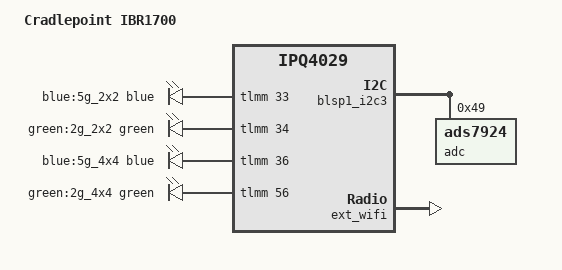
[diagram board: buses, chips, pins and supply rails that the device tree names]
// SPDX-License-Identifier: GPL-2.0-or-later
/* Copyright (c) 2025, Natalie Moore <natalie@natalielucy.dev> */

#include "qcom-ipq4029-brulk-common.dtsi"
#include <dt-bindings/gpio/gpio.h>
#include <dt-bindings/leds/common.h>

/ {
	/* Codename Hulk */
	model = "Cradlepoint IBR1700";
	compatible = "cradlepoint,ibr1700";

	gpio_export {
		2g_antenna_toggle {
			gpio-export,name = "2g_antenna_toggle";
			gpio-export,output = <0>;
			gpio-export,direction_may_change = <0>;
			gpios = <&tlmm 69 GPIO_ACTIVE_HIGH>;
		};

		conn_ign_sense {
			gpio-export,name = "conn_ign_sense";
			gpio-export,input = <0>;
			gpio-export,direction_may_change = <0>;
			gpios = <&tlmm 19 GPIO_ACTIVE_LOW>;
		};

		conn_output {
			gpio-export,name = "conn_output";
			gpio-export,output = <0>;
			gpio-export,direction_may_change = <0>;
			gpios = <&expander1 7 GPIO_ACTIVE_HIGH>;
		};

		sata_ign_sense {
			gpio-export,name = "sata_ign_sense";
			gpio-export,input = <0>;
			gpio-export,direction_may_change = <0>;
			gpios = <&tlmm 53 GPIO_ACTIVE_LOW>;
		};

		/* GPS + RS-232 + GPIO riser card */
		riser_mux {
			gpio-export,name = "riser_mux";
			gpio-export,output = <0>;	/* 0 = console; 1 = GPS */
			gpio-export,direction_may_change = <0>;
			gpios = <&tlmm 37 GPIO_ACTIVE_HIGH>;
		};

		riser_flipflop_d {
			gpio-export,name = "riser_flipflop_d";
			gpio-export,output = <0>;
			gpio-export,direction_may_change = <1>;
			gpios = <&expander1 10 GPIO_ACTIVE_HIGH>;
		};

		riser_pwr_clk {
			gpio-export,name = "riser_pwr_clk";
			gpio-export,output = <0>;
			gpio-export,direction_may_change = <0>;
			gpios = <&tlmm 50 GPIO_ACTIVE_HIGH>;
		};

		riser_bias_clk {
			gpio-export,name = "riser_bias_clk";
			gpio-export,output = <0>;
			gpio-export,direction_may_change = <0>;
			gpios = <&tlmm 48 GPIO_ACTIVE_HIGH>;
		};

		riser_gps_boot_mode {
			gpio-export,name = "riser_gps_boot_mode";
			gpio-export,output = <0>;
			gpio-export,direction_may_change = <0>;
			gpios = <&tlmm 63 GPIO_ACTIVE_LOW>;
		};
	};

	leds {
		led_5g_right_blue: led-3 {
			function = LED_FUNCTION_STATUS;
			color = <LED_COLOR_ID_BLUE>;
			gpios = <&tlmm 33 GPIO_ACTIVE_HIGH>;
			label = "blue:5g_2x2";
		};

		led_2g_right_green: led-4 {
			function = LED_FUNCTION_STATUS;
			color = <LED_COLOR_ID_GREEN>;
			gpios = <&tlmm 34 GPIO_ACTIVE_HIGH>;
			label = "green:2g_2x2";
		};

		led_5g_left_blue: led-5 {
			function = LED_FUNCTION_STATUS;
			color = <LED_COLOR_ID_BLUE>;
			gpios = <&tlmm 36 GPIO_ACTIVE_HIGH>;
			label = "blue:5g_4x4";
		};

		led_2g_left_green: led-6 {
			function = LED_FUNCTION_STATUS;
			color = <LED_COLOR_ID_GREEN>;
			gpios = <&tlmm 56 GPIO_ACTIVE_HIGH>;
			label = "green:2g_4x4";
		};
	};
};

&blsp1_i2c3 {
	adc: adc@49 {
		compatible = "ads7924";
		reg = <0x49>;
		status = "okay";
	};
};

&ext_wifi {
	status = "okay";
};
